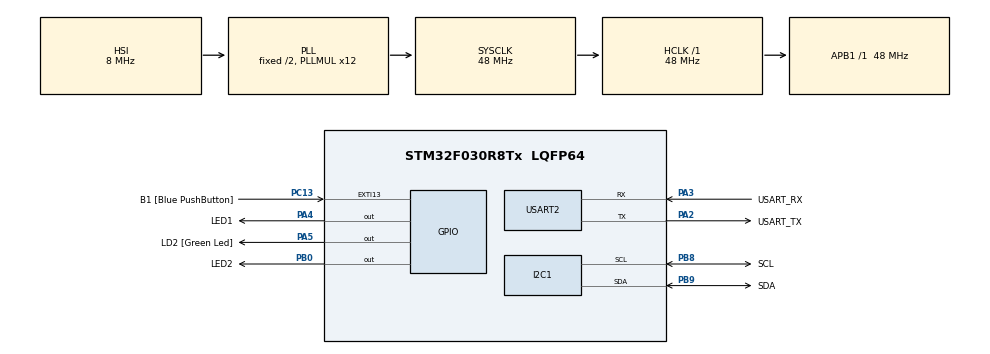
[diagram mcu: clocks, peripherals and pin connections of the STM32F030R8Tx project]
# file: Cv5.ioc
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Dma.Request0=USART2_RX
Dma.USART2_RX.0.Direction=DMA_PERIPH_TO_MEMORY
Dma.USART2_RX.0.Instance=DMA1_Channel5
Dma.USART2_RX.0.MemDataAlignment=DMA_MDATAALIGN_BYTE
Dma.USART2_RX.0.MemInc=DMA_MINC_ENABLE
Dma.USART2_RX.0.Mode=DMA_CIRCULAR
Dma.USART2_RX.0.PeriphDataAlignment=DMA_PDATAALIGN_BYTE
Dma.USART2_RX.0.PeriphInc=DMA_PINC_DISABLE
Dma.USART2_RX.0.Priority=DMA_PRIORITY_LOW
Mcu.Family=STM32F0
Mcu.Name=STM32F030R8Tx
Mcu.Package=LQFP64
NVIC.DMA1_Channel4_5_IRQn=true\:0\:0\:false\:false\:true\:false\:true\:true
PA13.GPIO_Label=TMS
PA13.Mode=Serial_Wire
PA13.Signal=SYS_SWDIO
PA14.GPIO_Label=TCK
PA14.Mode=Serial_Wire
PA14.Signal=SYS_SWCLK
PA2.GPIO_Label=USART_TX
PA2.GPIO_Mode=GPIO_MODE_AF_PP
PA2.GPIO_PuPd=GPIO_NOPULL
PA2.GPIO_Speed=GPIO_SPEED_FREQ_LOW
PA2.Mode=Asynchronous
PA2.Signal=USART2_TX
PA3.GPIO_Label=USART_RX
PA3.GPIO_Mode=GPIO_MODE_AF_PP
PA3.GPIO_PuPd=GPIO_NOPULL
PA3.GPIO_Speed=GPIO_SPEED_FREQ_LOW
PA3.Mode=Asynchronous
PA3.Signal=USART2_RX
PA4.GPIO_Label=LED1
PA4.Signal=GPIO_Output
PA5.GPIO_Label=LD2 [Green Led]
PA5.GPIO_Mode=GPIO_MODE_OUTPUT_PP
PA5.GPIO_PuPd=GPIO_NOPULL
PA5.GPIO_Speed=GPIO_SPEED_FREQ_LOW
PA5.Signal=GPIO_Output
PB0.GPIO_Label=LED2
PB0.Signal=GPIO_Output
PB8.GPIO_Label=SCL
PB8.Mode=I2C
PB8.Signal=I2C1_SCL
PB9.GPIO_Label=SDA
PB9.Mode=I2C
PB9.Signal=I2C1_SDA
PC13.GPIO_Label=B1 [Blue PushButton]
PC13.GPIO_ModeDefaultEXTI=GPIO_MODE_IT_FALLING
PC13.Signal=GPXTI13
PC14-OSC32_IN.Mode=LSE-External-Oscillator
PC14-OSC32_IN.Signal=RCC_OSC32_IN
PC15-OSC32_OUT.Mode=LSE-External-Oscillator
PC15-OSC32_OUT.Signal=RCC_OSC32_OUT
PF0-OSC_IN.Mode=HSE-External-Clock-Source
PF0-OSC_IN.Signal=RCC_OSC_IN
PF1-OSC_OUT.Signal=RCC_OSC_OUT
ProjectManager.HeapSize=0x200
ProjectManager.StackSize=0x400
ProjectManager.TargetToolchain=STM32CubeIDE
RCC.AHBFreq_Value=48000000
RCC.APB1Freq_Value=48000000
RCC.APB1TimFreq_Value=48000000
RCC.HCLKFreq_Value=48000000
RCC.PLLMUL=RCC_PLL_MUL12
RCC.SYSCLKFreq_VALUE=48000000
RCC.SYSCLKSource=RCC_SYSCLKSOURCE_PLLCLK
USART2.VirtualMode-Asynchronous=VM_ASYNC
board=NUCLEO-F030R8

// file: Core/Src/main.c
/* USER CODE BEGIN Header */
/**
  ******************************************************************************
  * @file           : main.c
  * @brief          : Main program body
  ******************************************************************************
  * @attention
  *
  * Copyright (c) 2023 STMicroelectronics.
  * All rights reserved.
  *
  * This software is licensed under terms that can be found in the LICENSE file
  * in the root directory of this software component.
  * If no LICENSE file comes with this software, it is provided AS-IS.
  *
  ******************************************************************************
  */
/* USER CODE END Header */
#include "main.h"

/* USER CODE BEGIN Includes */
#include <stdio.h>
#include <stdlib.h>
#include <string.h>
/* USER CODE END Includes */

/* USER CODE BEGIN PD */
#define RX_BUFFER_LEN 64
#define uart_rx_write_ptr (RX_BUFFER_LEN - hdma_usart2_rx.Instance->CNDTR)
#define CMD_BUFFER_LEN 256
#define EEPROM_ADDR  0xA0

/* USER CODE END PD */

I2C_HandleTypeDef hi2c1;

UART_HandleTypeDef huart2;
DMA_HandleTypeDef hdma_usart2_rx;

/* USER CODE BEGIN PV */
static uint8_t uart_rx_buf[RX_BUFFER_LEN];
static volatile uint16_t uart_rx_read_ptr = 0;
static uint8_t value;
/* USER CODE END PV */

void SystemClock_Config(void);
static void MX_GPIO_Init(void);
static void MX_DMA_Init(void);
static void MX_USART2_UART_Init(void);
static void MX_I2C1_Init(void);
/* USER CODE BEGIN PFP */

static void uart_process_command(char *cmd)
{
	char *token;
	token = strtok(cmd, " ");
	if (strcasecmp(token, "HELLO") == 0) {																//HELLO
		printf("Komunikace OK\n");
	}else if (strcasecmp(token, "LED1") == 0) {															//LED1
		token = strtok(NULL, " ");
		if (strcasecmp(token, "ON") == 0){
			HAL_GPIO_WritePin(LED1_GPIO_Port,LED1_Pin,1);
			printf("OK\n");
		}else if (strcasecmp(token, "OFF") == 0){
			HAL_GPIO_WritePin(LED1_GPIO_Port,LED1_Pin,0);
			printf("OK\n");
		}
	}else if (strcasecmp(token, "LED2") == 0){															//LED2
		token = strtok(NULL, " ");
		if (strcasecmp(token, "ON") == 0){
			HAL_GPIO_WritePin(LED2_GPIO_Port,LED2_Pin,1);
			printf("OK\n");
		}else if (strcasecmp(token, "OFF") == 0){
			HAL_GPIO_WritePin(LED2_GPIO_Port,LED2_Pin,0);
			printf("OK\n");
		}
	}else if (strcasecmp(token, "STATUS") == 0){														//STATUS
		uint8_t led1=HAL_GPIO_ReadPin(LED1_GPIO_Port,LED1_Pin);
		uint8_t led2=HAL_GPIO_ReadPin(LED2_GPIO_Port,LED2_Pin);
		printf("Stav led1: %d\n",led1);
		printf("Stav led2: %d\n",led2);

	}else if(strcasecmp(token, "READ") == 0){															//READ
		token = strtok(NULL, " ");
		uint16_t addr;
		uint32_t val=atoi(token);
		if ((val >= 0x0000)&&(val <= 0x00F)){
			addr=val;
			HAL_I2C_Mem_Read(&hi2c1, EEPROM_ADDR, addr, I2C_MEMADD_SIZE_16BIT, &value, 1, 1000);
			printf("%d\n",value);
		}else {
			printf("ERROR\n");
		}

	}else if(strcasecmp(token, "WRITE") == 0){															//WRITE
		token = strtok(NULL, " ");
		uint16_t addr;
		uint32_t val=atoi(token);

		if ((val >= 0x0000)&&(val <= 0x000F)){
			addr=val;

			token = strtok(NULL, " ");
			val=atoi(token);
			uint8_t value;
			if ((val >= 0x0000)&&(val <= 0xFF)){
				value=val;
				HAL_I2C_Mem_Write(&hi2c1, EEPROM_ADDR, addr, I2C_MEMADD_SIZE_16BIT, &value, 1, 1000);
				while (HAL_I2C_IsDeviceReady(&hi2c1, EEPROM_ADDR, 300, 1000) == HAL_TIMEOUT) {}
			}else printf("ERROR");

		}else printf("ERROR");

	}else if(strcasecmp(token, "DUMP") == 0){

	}else{
		printf("prijato: '%s'\n", cmd);
	}

}

int _write(int file, char const *buf, int n)
{
	/* stdout redirection to UART2 */
	HAL_UART_Transmit(&huart2, (uint8_t*)(buf), n, HAL_MAX_DELAY);
	return n;
}

static void uart_byte_available(uint8_t c)
{
	static uint16_t cnt;
	static char data[CMD_BUFFER_LEN];
	if (cnt < CMD_BUFFER_LEN && c >= 32 && c <= 126) data[cnt++] = c;
	if ((c == '\n' || c == '\r') && cnt > 0) {
		data[cnt] = '\0';
		uart_process_command(data);
		cnt = 0;
	}
}

/* USER CODE END PFP */

int main(void)
{

  /* MCU Configuration--------------------------------------------------------*/

  /* Reset of all peripherals, Initializes the Flash interface and the Systick. */
  HAL_Init();

  /* Configure the system clock */
  SystemClock_Config();

  /* Initialize all configured peripherals */
  MX_GPIO_Init();
  MX_DMA_Init();
  MX_USART2_UART_Init();
  MX_I2C1_Init();
  /* USER CODE BEGIN 2 */
  HAL_UART_Receive_DMA(&huart2, uart_rx_buf, RX_BUFFER_LEN);
  /* USER CODE END 2 */

  /* Infinite loop */
  while (1)
  {

    /* USER CODE BEGIN 3 */

	    while (uart_rx_read_ptr != uart_rx_write_ptr) {
	     uint8_t b = uart_rx_buf[uart_rx_read_ptr];
	     if (++uart_rx_read_ptr >= RX_BUFFER_LEN) uart_rx_read_ptr = 0; // increase read pointer
	     uart_byte_available(b); // process every received byte with the RX state machine
	    }

  }
  /* USER CODE END 3 */
}

void SystemClock_Config(void)
{
  RCC_OscInitTypeDef RCC_OscInitStruct = {0};
  RCC_ClkInitTypeDef RCC_ClkInitStruct = {0};
  RCC_PeriphCLKInitTypeDef PeriphClkInit = {0};

  /** Initializes the RCC Oscillators according to the specified parameters
  * in the RCC_OscInitTypeDef structure.
  */
  RCC_OscInitStruct.OscillatorType = RCC_OSCILLATORTYPE_HSI;
  RCC_OscInitStruct.HSIState = RCC_HSI_ON;
  RCC_OscInitStruct.HSICalibrationValue = RCC_HSICALIBRATION_DEFAULT;
  RCC_OscInitStruct.PLL.PLLState = RCC_PLL_ON;
  RCC_OscInitStruct.PLL.PLLSource = RCC_PLLSOURCE_HSI;
  RCC_OscInitStruct.PLL.PLLMUL = RCC_PLL_MUL12;
  RCC_OscInitStruct.PLL.PREDIV = RCC_PREDIV_DIV1;
  if (HAL_RCC_OscConfig(&RCC_OscInitStruct) != HAL_OK)
  {
    Error_Handler();
  }

  /** Initializes the CPU, AHB and APB buses clocks
  */
  RCC_ClkInitStruct.ClockType = RCC_CLOCKTYPE_HCLK|RCC_CLOCKTYPE_SYSCLK
                              |RCC_CLOCKTYPE_PCLK1;
  RCC_ClkInitStruct.SYSCLKSource = RCC_SYSCLKSOURCE_PLLCLK;
  RCC_ClkInitStruct.AHBCLKDivider = RCC_SYSCLK_DIV1;
  RCC_ClkInitStruct.APB1CLKDivider = RCC_HCLK_DIV1;

  if (HAL_RCC_ClockConfig(&RCC_ClkInitStruct, FLASH_LATENCY_1) != HAL_OK)
  {
    Error_Handler();
  }
  PeriphClkInit.PeriphClockSelection = RCC_PERIPHCLK_I2C1;
  PeriphClkInit.I2c1ClockSelection = RCC_I2C1CLKSOURCE_HSI;
  if (HAL_RCCEx_PeriphCLKConfig(&PeriphClkInit) != HAL_OK)
  {
    Error_Handler();
  }
}

static void MX_I2C1_Init(void)
{

  hi2c1.Instance = I2C1;
  hi2c1.Init.Timing = 0x2000090E;
  hi2c1.Init.OwnAddress1 = 0;
  hi2c1.Init.AddressingMode = I2C_ADDRESSINGMODE_7BIT;
  hi2c1.Init.DualAddressMode = I2C_DUALADDRESS_DISABLE;
  hi2c1.Init.OwnAddress2 = 0;
  hi2c1.Init.OwnAddress2Masks = I2C_OA2_NOMASK;
  hi2c1.Init.GeneralCallMode = I2C_GENERALCALL_DISABLE;
  hi2c1.Init.NoStretchMode = I2C_NOSTRETCH_DISABLE;
  if (HAL_I2C_Init(&hi2c1) != HAL_OK)
  {
    Error_Handler();
  }

  /** Configure Analogue filter
  */
  if (HAL_I2CEx_ConfigAnalogFilter(&hi2c1, I2C_ANALOGFILTER_ENABLE) != HAL_OK)
  {
    Error_Handler();
  }

  /** Configure Digital filter
  */
  if (HAL_I2CEx_ConfigDigitalFilter(&hi2c1, 0) != HAL_OK)
  {
    Error_Handler();
  }

}

static void MX_USART2_UART_Init(void)
{

  huart2.Instance = USART2;
  huart2.Init.BaudRate = 38400;
  huart2.Init.WordLength = UART_WORDLENGTH_8B;
  huart2.Init.StopBits = UART_STOPBITS_1;
  huart2.Init.Parity = UART_PARITY_NONE;
  huart2.Init.Mode = UART_MODE_TX_RX;
  huart2.Init.HwFlowCtl = UART_HWCONTROL_NONE;
  huart2.Init.OverSampling = UART_OVERSAMPLING_16;
  huart2.Init.OneBitSampling = UART_ONE_BIT_SAMPLE_DISABLE;
  huart2.AdvancedInit.AdvFeatureInit = UART_ADVFEATURE_NO_INIT;
  if (HAL_UART_Init(&huart2) != HAL_OK)
  {
    Error_Handler();
  }

}

static void MX_DMA_Init(void)
{

  /* DMA controller clock enable */
  __HAL_RCC_DMA1_CLK_ENABLE();

  /* DMA interrupt init */
  /* DMA1_Channel4_5_IRQn interrupt configuration */
  HAL_NVIC_SetPriority(DMA1_Channel4_5_IRQn, 0, 0);
  HAL_NVIC_EnableIRQ(DMA1_Channel4_5_IRQn);

}

static void MX_GPIO_Init(void)
{
  GPIO_InitTypeDef GPIO_InitStruct = {0};

  /* GPIO Ports Clock Enable */
  __HAL_RCC_GPIOC_CLK_ENABLE();
  __HAL_RCC_GPIOF_CLK_ENABLE();
  __HAL_RCC_GPIOA_CLK_ENABLE();
  __HAL_RCC_GPIOB_CLK_ENABLE();

  /*Configure GPIO pin Output Level */
  HAL_GPIO_WritePin(GPIOA, LED1_Pin|LD2_Pin, GPIO_PIN_RESET);

  /*Configure GPIO pin Output Level */
  HAL_GPIO_WritePin(LED2_GPIO_Port, LED2_Pin, GPIO_PIN_RESET);

  /*Configure GPIO pin : B1_Pin */
  GPIO_InitStruct.Pin = B1_Pin;
  GPIO_InitStruct.Mode = GPIO_MODE_IT_FALLING;
  GPIO_InitStruct.Pull = GPIO_NOPULL;
  HAL_GPIO_Init(B1_GPIO_Port, &GPIO_InitStruct);

  /*Configure GPIO pins : LED1_Pin LD2_Pin */
  GPIO_InitStruct.Pin = LED1_Pin|LD2_Pin;
  GPIO_InitStruct.Mode = GPIO_MODE_OUTPUT_PP;
  GPIO_InitStruct.Pull = GPIO_NOPULL;
  GPIO_InitStruct.Speed = GPIO_SPEED_FREQ_LOW;
  HAL_GPIO_Init(GPIOA, &GPIO_InitStruct);

  /*Configure GPIO pin : LED2_Pin */
  GPIO_InitStruct.Pin = LED2_Pin;
  GPIO_InitStruct.Mode = GPIO_MODE_OUTPUT_PP;
  GPIO_InitStruct.Pull = GPIO_NOPULL;
  GPIO_InitStruct.Speed = GPIO_SPEED_FREQ_LOW;
  HAL_GPIO_Init(LED2_GPIO_Port, &GPIO_InitStruct);

}

void Error_Handler(void)
{
  __disable_irq();
  while (1)
  {
  }
}
